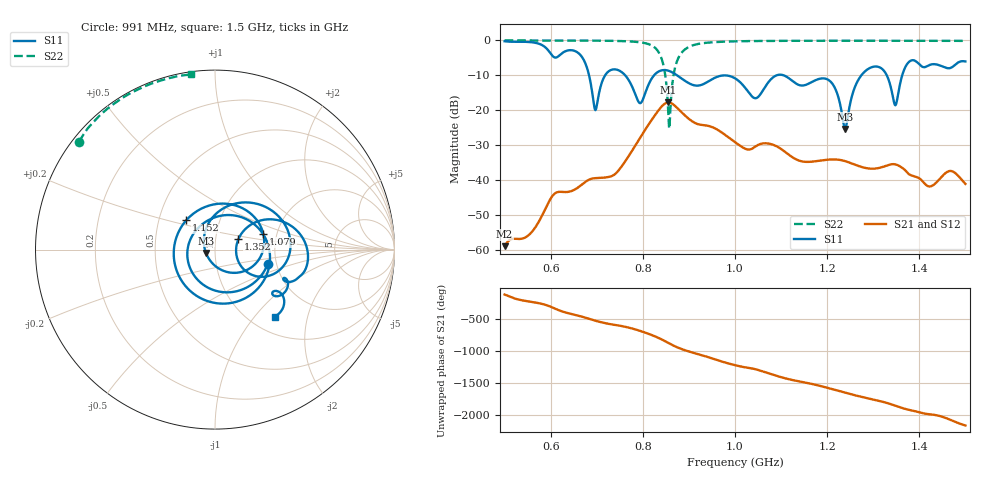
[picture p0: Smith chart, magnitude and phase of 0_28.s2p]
! TOUCHSTONE file generated by CST MICROWAVE STUDIO
! Date and time: Sat Oct 24 10:46:38 2020
! Project name: Scenario_1_Planar_Body_Tissue_Center.cst
! Parameters = {hfat=3; hmuscle=50; hskin=1.5; hgap=25; Wtissue=700; Ltissue=700; L_HA=400; MT=2.54; Rad_Dielectric=30; Rad_Lower=7.3; Rad_Upper=30; a_HA=580; a_WG=246; b_HA=500; b_WG=121; c_HA=0; c_WG=187; d_feed=85; dx1=640.64; h_feed=15; h_lower=18; h_upper=40}
! Header version: 2018
! Port assignment regex: !\s*Touchstone port\s*([0-9]+)\s*=\s*(CST MWS port|CST DS port)\s*([0-9]+|Zmin|Zmax)\s*\(\"(.*)\"\)(\s*mode\s*([0-9]+))?.*
! Touchstone port assignment:
! Touchstone port 1 = CST MWS port 1 ("")
! Touchstone port 2 = CST MWS port 2 ("")
# GHz S DB R 50
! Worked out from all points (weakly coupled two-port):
!   1003 points, 500 MHz to 1.5 GHz, reference 50 ohm
!   highest |S21| = -17.79 dB at 855 MHz (marker M1); lowest = -59.0 dB at 500 MHz (marker M2)
!   lowest |S11| = -25.4 dB at 1.239 GHz (marker M3), VSWR 1.11, Z = 45.2 - j1.72 ohm
!   |S11| at or under -10 dB: 761.6 MHz to 824.4 MHz (62.8 MHz wide, 7.92 % of centre); 874.1 MHz to 1.091 GHz (216.5 MHz wide, 22 % of centre); 1.105 GHz to 1.274 GHz (168.9 MHz wide, 14.2 % of centre) (the widest 3 of 5)
!   |S22| runs from -25.3 to 0.0 dB; largest |S21 - S12| = 7.1e-06
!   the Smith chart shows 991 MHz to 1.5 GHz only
!   S11 on the Smith chart (normalised r, x): 991 MHz: 1.80, -0.32; 1.079 GHz: 1.69, +0.32; 1.152 GHz: 0.69, +0.24; 1.352 GHz: 1.29, +0.15; 1.5 GHz: 1.28, -1.28
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0.5  -0.24 -122.3  -59.02 -125.2  -59.02 -125.2  -0.01 151.1
0.576  -1.02 -165.0  -51.57 97.7  -51.57 97.7  -0.01 145.9
0.667  -4.58 116.5  -41.42 -107.8  -41.42 -107.8  -0.04 138.4
0.697  -20.00 -40.1  -39.50 -172.9  -39.50 -172.9  -0.06 135.2
0.729  -8.59 170.7  -39.07 134.1  -39.07 134.0  -0.11 131.0
0.834  -8.93 132.9  -20.05 -80.4  -20.05 -80.4  -3.32 82.8
0.855  -8.67 68.1  -17.79 -157.6  -17.79 -157.6  -19.99 14.4
0.895  -11.89 -54.8  -21.96 79.4  -21.96 79.4  -2.24 171.6
0.932  -12.49 167.8  -24.30 2.3  -24.30 2.3  -0.76 153.6
0.991  -10.32 -15.2  -28.31 -128.4  -28.31 -128.4  -0.29 141.5
1  -10.87 -39.4  -29.18 -144.8  -29.18 -144.8  -0.26 140.2
1.038  -16.20 -174.5  -30.99 162.2  -30.99 162.2  -0.18 135.6
1.079  -11.02 18.0  -29.77 74.7  -29.77 74.7  -0.14 131.6
1.112  -10.42 -85.3  -32.31 5.0  -32.31 5.0  -0.12 128.6
1.152  -12.81 134.3  -34.82 -54.8  -34.82 -54.8  -0.10 125.3
1.167  -11.91 88.8  -34.78 -77.4  -34.78 -77.4  -0.10 124.2
1.239  -25.42 -159.3  -34.62 146.2  -34.62 146.2  -0.08 118.6
1.28  -9.13 46.4  -36.49 72.7  -36.49 72.7  -0.09 115.6
1.334  -11.52 -33.4  -35.69 -22.3  -35.69 -22.3  -0.08 111.5
1.352  -16.88 24.2  -35.72 -65.8  -35.72 -65.8  -0.09 110.1
1.381  -5.84 1.7  -38.62 -125.2  -38.62 -125.2  -0.09 107.8
1.5  -6.02 -48.4  -41.17 -3.5  -41.17 -3.5  -0.13 97.9
